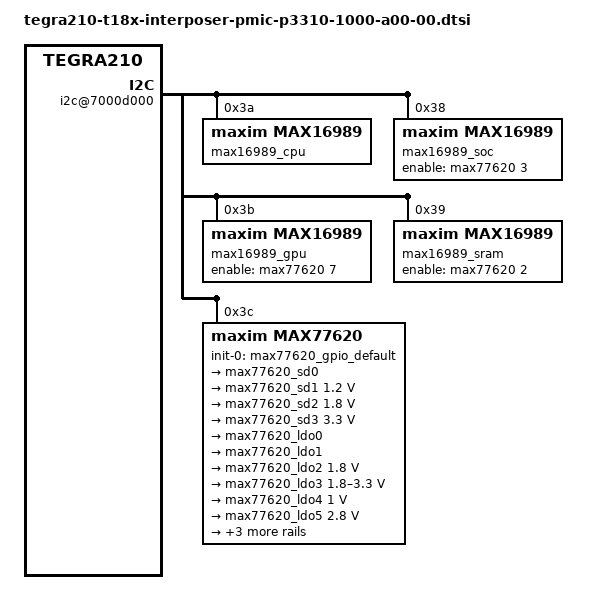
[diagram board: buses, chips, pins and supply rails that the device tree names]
/*
 * Copyright (c) 2014-2016, NVIDIA CORPORATION.  All rights reserved.
 *
 * This program is free software; you can redistribute it and/or modify
 * it under the terms of the GNU General Public License as published by
 * the Free Software Foundation; either version 2 of the License, or
 * (at your option) any later version.
 *
 * This program is distributed in the hope that it will be useful, but WITHOUT
 * ANY WARRANTY; without even the implied warranty of MERCHANTABILITY or
 * FITNESS FOR A PARTICULAR PURPOSE.  See the GNU General Public License for
 * more details.
 */

#include <dt-bindings/mfd/max77620.h>
#include <dt-bindings/regulator/regulator.h>
#include <dt-bindings/gpio/tegra-gpio.h>
#include <dt-bindings/thermal/thermal.h>

/ {
	i2c@7000d000 {
		nvidia,bit-banging-xfer-after-shutdown;

		max16989_cpu: max16989@3a {
			compatible = "maxim,max16989";
			reg = <0x3a>;
			regulator-name = "vdd_cpu";
			regulator-min-microvolt = <500000>;
			regulator-max-microvolt = <1200000>;
			regulator-boot-on;
			regulator-always-on;
		};

		max16989_soc: max16989@38 {
			compatible = "maxim,max16989";
			reg = <0x38>;
			regulator-name = "vdd_soc";
			regulator-min-microvolt = <600000>;
			regulator-max-microvolt = <1200000>;
			maxim,enable-gpio = <&max77620 3 0>;
			regulator-boot-on;
			regulator-always-on;
		};

		max16989_gpu: max16989@3b {
			compatible = "maxim,max16989";
			reg = <0x3b>;
			regulator-name = "vdd_gpu";
			regulator-min-microvolt = <500000>;
			regulator-max-microvolt = <1200000>;
			maxim,enable-gpio = <&max77620 7 0>;
			regulator-boot-on;
			regulator-always-on;
		};

		max16989_sram: max16989@39 {
			compatible = "maxim,max16989";
			reg = <0x39>;
			regulator-name = "vdd_sram";
			regulator-min-microvolt = <500000>;
			regulator-max-microvolt = <1200000>;
			maxim,enable-gpio = <&max77620 2 0>;
			regulator-boot-on;
			regulator-always-on;
		};

		max77620: max77620@3c {
			compatible = "maxim,max77620";
			reg = <0x3c>;
			interrupts = <0 86 IRQ_TYPE_NONE>;

			#interrupt-cells = <2>;
                        interrupt-controller;

			gpio-controller;
			#gpio-cells = <2>;

			maxim,enable-clock32k-out;

			maxim,system-pmic-power-off;

			maxim,hot-die-threshold-temp = <110000>;
			#thermal-sensor-cells = <0>;

			pinctrl-names = "default";
			pinctrl-0 = <&max77620_default>;

			gpio-init-names = "default";
			gpio-init-0 = <&max77620_gpio_default>;

			max77620_default: pinmux@0 {
				pin_gpio0 {
					pins = "gpio0";
					function = "gpio";
				};

				pin_gpio1 {
					pins = "gpio1";
					function = "fps-out";
					drive-push-pull = <1>;
					maxim,active-fps-source = <MAX77620_FPS_SRC_0>;
					maxim,active-fps-power-up-slot = <7>;
					maxim,active-fps-power-down-slot = <0>;
				};

				pin_gpio2_3 {
					pins = "gpio2", "gpio3";
					function = "fps-out";
					drive-open-drain = <1>;
					maxim,active-fps-source = <MAX77620_FPS_SRC_0>;
				};

				pin_gpio4 {
					pins = "gpio4";
					function = "32k-out1";
				};

				pin_gpio5_6_7 {
					pins = "gpio5", "gpio6", "gpio7";
					function = "gpio";
					drive-push-pull = <1>;
				};
			};

			max77620_gpio_default:gpio_default {
				gpio-output-high = <2>;
			};

			watchdog {
				maxim,wdt-timeout = <16>;
				maxim,wdt-clear-time = <13>;
				status = "okay";
				dt-override-status-odm-data = <0x00020000 0x00020000>;
			};

			fps {
				#address-cells = <1>;
				#size-cells = <0>;
				fps0 {
					reg = <0>;
					maxim,shutdown-fps-time-period-us = <2560>;
					maxim,fps-event-source = <MAX77620_FPS_EVENT_SRC_EN0>;
				};

				fps1 {
					reg = <1>;
					maxim,shutdown-fps-time-period-us = <2560>;
					maxim,fps-event-source = <MAX77620_FPS_EVENT_SRC_EN1>;
					maxim,device-state-on-disabled-event = <MAX77620_FPS_INACTIVE_STATE_SLEEP>;
				};

				fps2 {
					reg = <2>;
					maxim,fps-event-source = <MAX77620_FPS_EVENT_SRC_EN0>;
				};
			};

			backup-battery {
				maxim,backup-battery-charging-current = <100>;
				maxim,backup-battery-charging-voltage = <3000000>;
				maxim,backup-battery-output-resister = <100>;
			};

			regulators {
				in-ldo4-supply = <&max77620_sd2>;
				in-ldo6-supply = <&max77620_sd2>;
				in-ldo7-8-supply = <&max77620_sd1>;

				max77620_sd0: sd0 {
					regulator-name = "vddio-ddr";
					regulator-boot-on;
					regulator-always-on;
					regulator-init-mode = <REGULATOR_MODE_NORMAL>;
				};

				max77620_sd1: sd1 {
					regulator-name = "avdd_dsi_csi";
					regulator-min-microvolt = <1200000>;
					regulator-max-microvolt = <1200000>;
					regulator-always-on;
					regulator-boot-on;
					regulator-init-mode = <REGULATOR_MODE_NORMAL>;
				};

				max77620_sd2: sd2 {
					regulator-name = "vdd-1v8";
					regulator-min-microvolt = <1800000>;
					regulator-max-microvolt = <1800000>;
					regulator-always-on;
					regulator-boot-on;
					regulator-init-mode = <REGULATOR_MODE_NORMAL>;
				};

				max77620_sd3: sd3 {
					regulator-name = "vdd-3v3-sys";
					regulator-min-microvolt = <3300000>;
					regulator-max-microvolt = <3300000>;
					regulator-always-on;
					regulator-boot-on;
				};

				max77620_ldo0: ldo0 {
					regulator-name = "not-used";
				};

				max77620_ldo1: ldo1 {
					regulator-name = "not-used1";
				};

				max77620_ldo2: ldo2 {
					regulator-name = "vddio-3v3";
					regulator-min-microvolt = <1800000>;
					regulator-max-microvolt = <1800000>;
					regulator-always-on;
					regulator-boot-on;
				};

				max77620_ldo3: ldo3 {
					regulator-name = "vddio-sdmmc1";
					regulator-min-microvolt = <1800000>;
					regulator-max-microvolt = <3300000>;
				};

				max77620_ldo4: ldo4 {
					regulator-name = "vdd-rtc";
					regulator-min-microvolt = <1000000>;
					regulator-max-microvolt = <1000000>;
					regulator-always-on;
					regulator-boot-on;
				};

				max77620_ldo5: ldo5 {
					regulator-name = "avdd-ts-hv";
					regulator-min-microvolt = <2800000>;
					regulator-max-microvolt = <2800000>;
				};

				max77620_ldo6: ldo6 {
					regulator-name = "not-used2";
					regulator-always-on;
					regulator-boot-on;
				};

				max77620_ldo7: ldo7 {
					regulator-name = "vdd-pex-1v05";
					regulator-min-microvolt = <1050000>;
					regulator-max-microvolt = <1050000>;
					regulator-always-on;
					regulator-boot-on;
				};

				max77620_ldo8: ldo8 {
					regulator-name = "not-used3";
					regulator-always-on;
					regulator-boot-on;
				};
			};
		};
	};

	dummy_cool_dev: dummy-cool-dev {
		compatible = "dummy-cooling-dev";
		#cooling-cells = <2>; /* min followed by max */
	};

	thermal-zones {
		PMIC-Die {
			polling-delay = <0>; /* milliseconds */
			polling-delay-passive = <0>; /* milliseconds */

			thermal-sensors = <&max77620>;
			trips {
				die_temp_thresh: hot-die {
					temperature = <120000>;
					type = "active";
					hysteresis = <0>;
				};
			};

			cooling-maps {
				map0 {
					trip = <&die_temp_thresh>;
					cooling-device = <&dummy_cool_dev THERMAL_NO_LIMIT
								THERMAL_NO_LIMIT>;
					contribution = <100>;
					cdev-type = "emergency-balanced";
				};
			};
		};
	};

	extcon {
		compatible = "simple-bus";
		device_type = "external-connection";
		#address-cells = <1>;
		#size-cells = <0>;
	};
};
